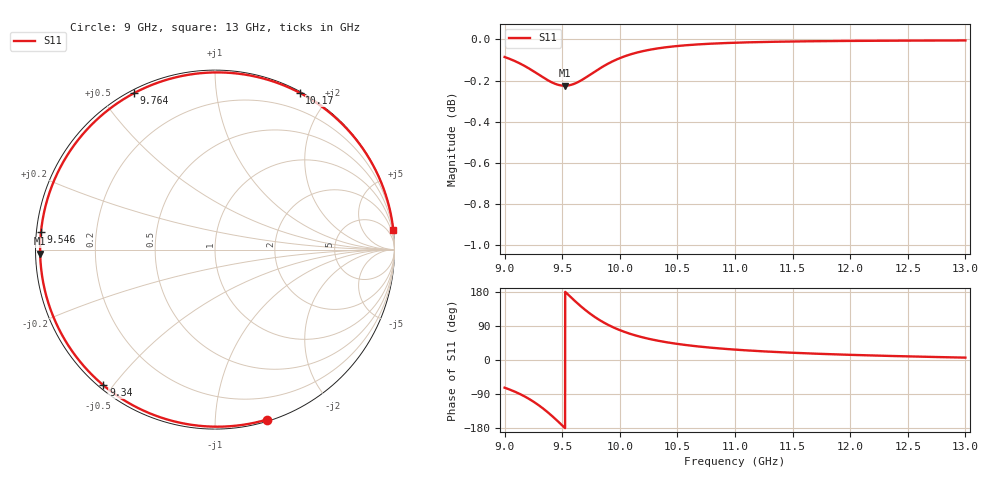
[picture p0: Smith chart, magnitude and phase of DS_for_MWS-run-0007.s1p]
! TOUCHSTONE file generated by CST DESIGN STUDIO
! Date and time: Tue Feb  4 12:35:30 2025
! Project name: C:\Work\MatlabApps\UnitCellOptimizationMatlab\CST\unitcell.cst
! Tree item: Tasks\Sweep1\SPara1\S-Parameters
! Header version: 2024
! Port assignment regex: !\s*Touchstone port\s*([0-9]+)\s*=\s*(CST MWS port|CST DES external port|CST DES block port)\s*(.+)\s* \(\"(.*)\"\)(\s*mode\s*([0-9]+))?.*
! Touchstone port assignment:
! Touchstone port 1 = CST DES external port 1 ("")
# GHz S MA R 50
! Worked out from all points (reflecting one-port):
!   4001 points, 9 GHz to 13 GHz, reference 50 ohm
!   lowest |S11| = -0.2 dB at 9.521 GHz (marker M1), VSWR 77.28, Z = 0.647 - j0.587 ohm
!   phase of S11 starts at -73 deg and turns -281 deg over the sweep
!   S11 on the Smith chart (normalised r, x): 9 GHz: 0.01, -1.35; 9.34 GHz: 0.01, -0.47; 9.546 GHz: 0.01, +0.05; 9.764 GHz: 0.01, +0.61; 10.17 GHz: 0.01, +1.68; 13 GHz: 0, +18
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9  0.9902 -73.1
9.093  0.9879 -84.2
9.198  0.9844 -100.2
9.272  0.9815 -114.3
9.34  0.9788 -129.4
9.383  0.9772 -140.1
9.428  0.9758 -152.1
9.465  0.9749 -162.5
9.5  0.9745 -172.5
9.521  0.9745 -178.7
9.546  0.9745 174.1
9.6  0.9754 158.6
9.661  0.9772 142.0
9.712  0.9792 129.2
9.764  0.9814 117.5
9.814  0.9834 107.3
9.868  0.9855 97.7
10  0.9896 78.8
10.084  0.9915 69.7
10.174  0.9931 61.6
10.323  0.995 51.4
10.5  0.9964 42.5
10.722  0.9974 34.5
11  0.9982 27.4
11.5  0.9989 19.1
12  0.9992 13.6
12.5  0.9994 9.6
13  0.9995 6.3
